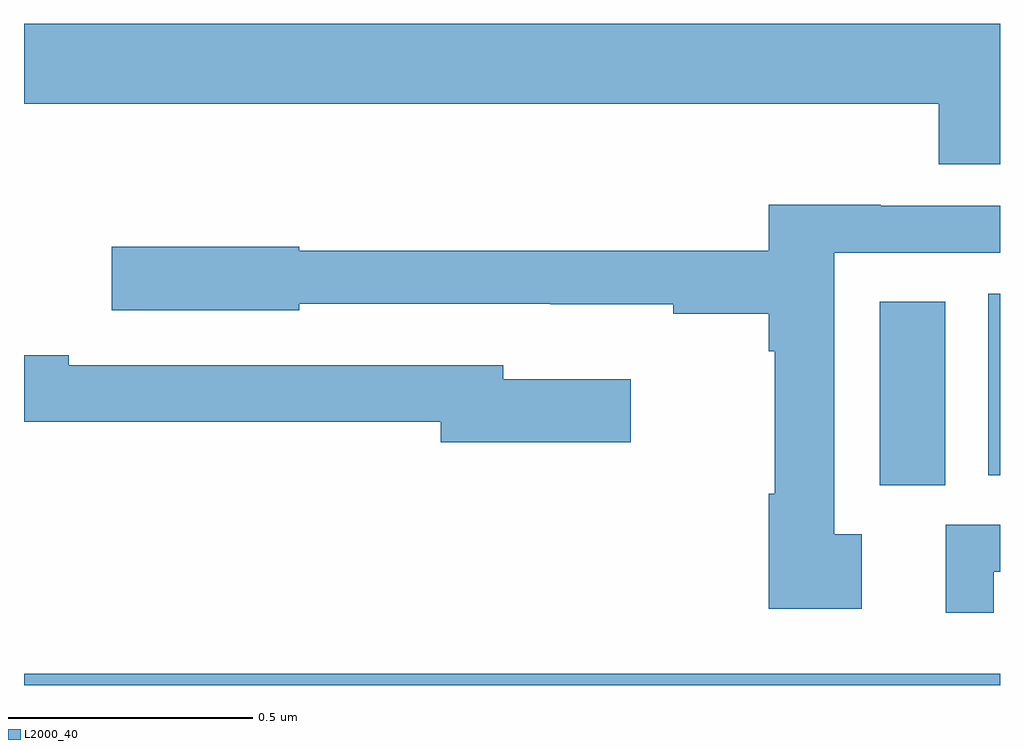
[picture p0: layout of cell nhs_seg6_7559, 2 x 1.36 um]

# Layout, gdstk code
import gdstk
lib = gdstk.Library(unit=1e-6, precision=1e-09)
def R(c, l, rs):  # rectangles x0, y0, x1, y1
    for r in rs: c.add(gdstk.rectangle(r[:2], r[2:], *l))
def P(c, l, *ps):  # polygons
    for p in ps: c.add(gdstk.Polygon(p, *l))
L2000_40 = (2000, 40)

nhs_seg6_7559 = lib.new_cell('nhs_seg6_7559')
R(nhs_seg6_7559, L2000_40, [(210,923.5,212,923.524), (211.754,923.91,211.888,924.286), (211.976,923.931,212,924.302)])
P(nhs_seg6_7559, L2000_40, [(212,924.856),(210,924.856),(210,924.692),(211.874,924.692),(211.874,924.568),(212,924.568)],
  [(211.717,923.81),(211.66,923.81),(211.66,924.387),(212,924.387),(212,924.483),(211.756,924.483),(211.756,924.485),(211.526,924.485),(211.526,924.391),(210.564,924.391),(210.564,924.399),(210.18,924.399),(210.18,924.269),(210.564,924.269),(210.564,924.282),(211.078,924.282),(211.078,924.281),(211.33,924.281),(211.33,924.262),(211.526,924.262),(211.526,924.185),(211.538,924.185),(211.538,923.893),(211.526,923.893),(211.526,923.657),(211.717,923.657)],
  [(211.243,924.127),(210.982,924.127),(210.982,924.156),(210.092,924.156),(210.092,924.176),(210,924.176),(210,924.04),(210.854,924.04),(210.854,923.998),(211.243,923.998)],
  [(211.987,923.733),(212,923.733),(212,923.829),(211.889,923.829),(211.889,923.649),(211.987,923.649)])

lib.write_gds('nhs_seg6_7559.gds')
